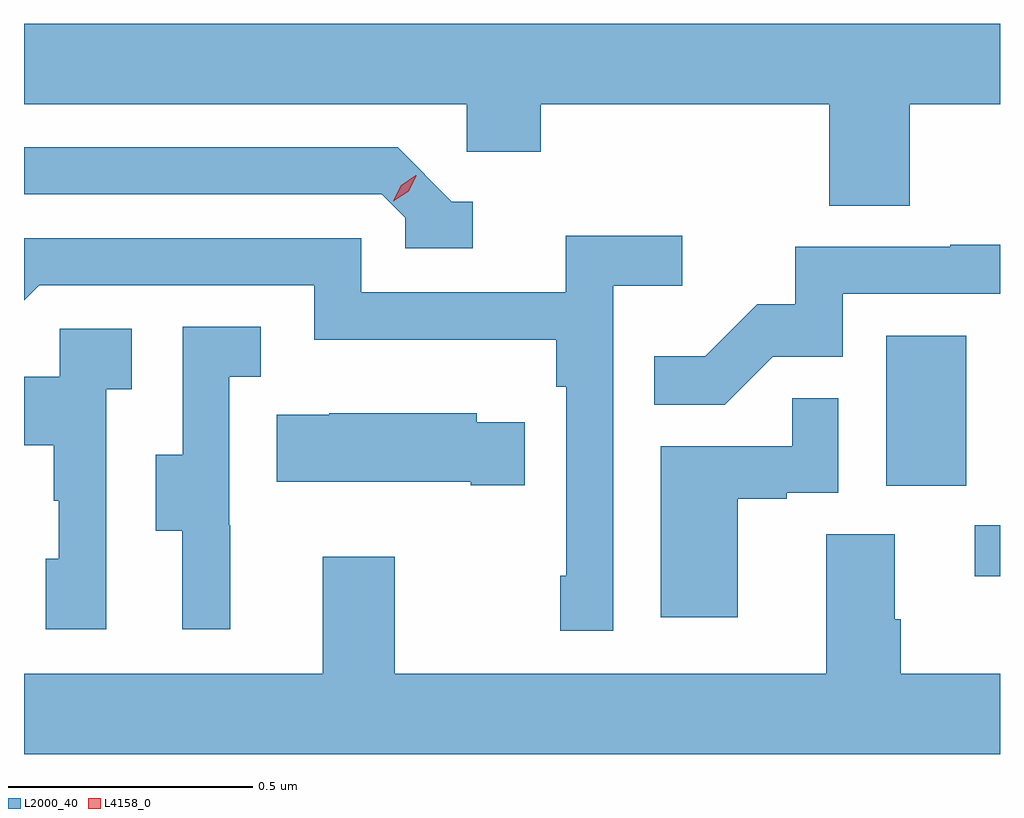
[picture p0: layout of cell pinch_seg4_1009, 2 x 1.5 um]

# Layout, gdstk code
import gdstk
lib = gdstk.Library(unit=1e-6, precision=1e-09)
def R(c, l, rs):  # rectangles x0, y0, x1, y1
    for r in rs: c.add(gdstk.rectangle(r[:2], r[2:], *l))
def P(c, l, *ps):  # polygons
    for p in ps: c.add(gdstk.Polygon(p, *l))
L2000_40 = (2000, 40)
L4158_0 = (4158, 0)

pinch_seg4_1009 = lib.new_cell('pinch_seg4_1009')
R(pinch_seg4_1009, L2000_40, [(847.749,782.532,847.801,782.637), (847.568,782.718,847.732,783.025)])
P(pinch_seg4_1009, L2000_40, [(847.616,783.5),(847.801,783.5),(847.801,783.664),(845.801,783.664),(845.801,783.5),(846.708,783.5),(846.708,783.402),(846.86,783.402),(846.86,783.5),(847.451,783.5),(847.451,783.292),(847.616,783.292)],
  [(846.721,783.3),(846.678,783.3),(846.567,783.411),(845.801,783.411),(845.801,783.315),(846.534,783.315),(846.582,783.267),(846.582,783.204),(846.721,783.204)],
  [(847.008,783.128),(847.15,783.128),(847.15,783.23),(846.911,783.23),(846.911,783.114),(846.492,783.114),(846.492,783.225),(845.801,783.225),(845.801,783.098),(845.832,783.129),(846.396,783.129),(846.396,783.017),(846.892,783.017),(846.892,782.921),(846.912,782.921),(846.912,782.533),(846.9,782.533),(846.9,782.421),(847.008,782.421)],
  [(847.335,782.982),(847.479,782.982),(847.479,783.111),(847.801,783.111),(847.801,783.212),(847.699,783.212),(847.699,783.207),(847.381,783.207),(847.381,783.09),(847.304,783.09),(847.197,782.983),(847.093,782.983),(847.093,782.884),(847.237,782.884)],
  [(846.224,782.637),(846.222,782.637),(846.222,782.941),(846.286,782.941),(846.286,783.044),(846.126,783.044),(846.126,782.781),(846.071,782.781),(846.071,782.626),(846.125,782.626),(846.125,782.424),(846.224,782.424)],
  [(845.97,782.915),(846.022,782.915),(846.022,783.039),(845.874,783.039),(845.874,782.941),(845.801,782.941),(845.801,782.801),(845.862,782.801),(845.862,782.687),(845.872,782.687),(845.872,782.568),(845.846,782.568),(845.846,782.424),(845.97,782.424)],
  [(847.264,782.691),(847.364,782.691),(847.364,782.703),(847.47,782.703),(847.47,782.897),(847.375,782.897),(847.375,782.799),(847.106,782.799),(847.106,782.448),(847.264,782.448)],
  [(846.827,782.848),(846.729,782.848),(846.729,782.866),(846.427,782.866),(846.427,782.863),(846.319,782.863),(846.319,782.726),(846.716,782.726),(846.716,782.719),(846.827,782.719)],
  [(847.585,782.444),(847.585,782.618),(847.445,782.618),(847.445,782.332),(846.561,782.332),(846.561,782.572),(846.413,782.572),(846.413,782.332),(845.801,782.332),(845.801,782.168),(847.801,782.168),(847.801,782.332),(847.598,782.332),(847.598,782.444)])
P(pinch_seg4_1009, L4158_0, [(846.558,783.301),(846.558,783.302),(846.574,783.334),(846.604,783.354),(846.605,783.354),(846.605,783.353),(846.589,783.321),(846.558,783.301)])

lib.write_gds('pinch_seg4_1009.gds')
